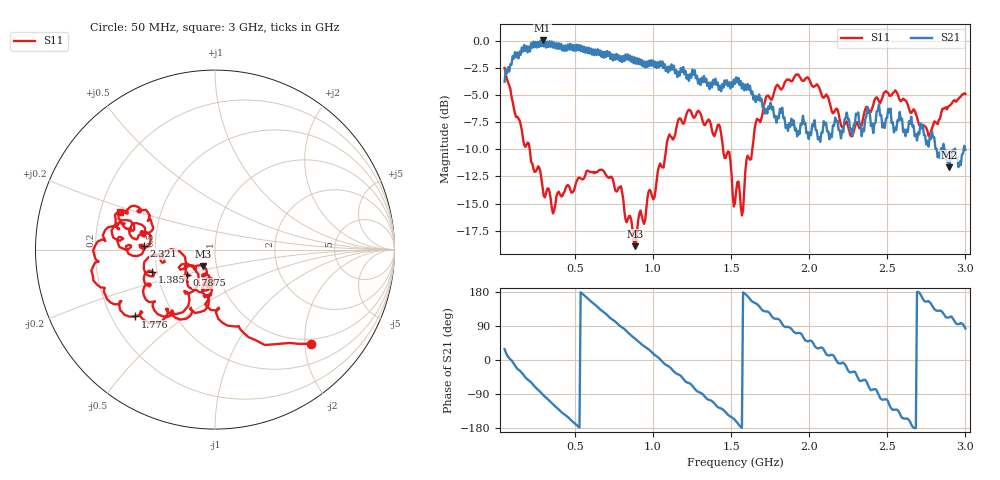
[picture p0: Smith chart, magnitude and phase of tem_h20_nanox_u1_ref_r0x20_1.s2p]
! nanovna_capture.py 2026-10-26T21:09:57+0900
! NanoVNA-F_V2 fw 0.6.0 SN 4A3639384505514B
! cal: load open short thru cal'ed  over 50000000-3000000000 Hz, 201 points
! points 401, avg 4
! TEM h=20, genuine Nano X, flat back down, 0 deg, moved 20 mm across the cell (right seen from PORT 1)
# HZ S RI R 50
! S12 and S22 are not measured (written as 0)
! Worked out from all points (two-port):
!   401 points, 50 MHz to 3 GHz, reference 50 ohm
!   highest |S21| = 0.01 dB at 293.4 MHz (marker M1); lowest = -11.6 dB at 2.897 GHz (marker M2)
!   |S21| within 3 dB of the highest: 65 MHz to 1.141 GHz (1.076 GHz wide, 178 % of centre); 1.174 GHz to 1.199 GHz (25.84 MHz wide, 2.18 % of centre) (the widest 2 of 8)
!   lowest |S11| = -18.9 dB at 883.4 MHz (marker M3), VSWR 1.26, Z = 43.2 - j8.11 ohm
!   |S11| at or under -10 dB: 210.6 MHz to 1.084 GHz (873.3 MHz wide, 135 % of centre); 1.449 GHz to 1.636 GHz (187.2 MHz wide, 12.1 % of centre)
!   S12 and S22 are empty: the file has one direction only
!   S11 on the Smith chart (normalised r, x): 50 MHz: 0.89, -2.13; 787.5 MHz: 0.70, -0.21; 1.385 GHz: 0.47, -0.13; 1.776 GHz: 0.30, -0.33; 2.321 GHz: 0.43, +0.02; 3 GHz: 0.28, +0.17
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5e7  0.5329 -0.5246  0.5686 0.3085  0 0  0 0
1.01625e8  0.1878 -0.4884  0.8459 -0.0837  0 0  0 0
1.60625e8  0.0182 -0.3854  0.7698 -0.5216  0 0  0 0
2.93375e8  -0.0659 -0.1993  -0.0138 -1.002  0 0  0 0
4.11375e8  -0.0253 -0.1905  -0.7018 -0.6648  0 0  0 0
5.44125e8  -0.0641 -0.2218  -0.9434 0.0674  0 0  0 0
6.62125e8  -0.1332 -0.2162  -0.6194 0.6549  0 0  0 0
7.875e8  -0.1569 -0.1411  -0.00311 0.8056  0 0  0 0
8.83375e8  -0.065 -0.0927  0.4578 0.7005  0 0  0 0
1.03825e9  -0.0429 -0.2599  0.7513 0.0657  0 0  0 0
1.207875e9  -0.2454 -0.366  0.403 -0.6048  0 0  0 0
1.384875e9  -0.3492 -0.1229  -0.2385 -0.6151  0 0  0 0
1.525e9  -0.1602 -0.0814  -0.5869 -0.2338  0 0  0 0
1.635625e9  -0.1418 -0.281  -0.5255 0.2561  0 0  0 0
1.77575e9  -0.4453 -0.3727  -0.1488 0.4183  0 0  0 0
2.019125e9  -0.6168 0.0542  0.2725 0.3078  0 0  0 0
2.166625e9  -0.4674 0.1094  0.441 0.0334  0 0  0 0
2.3215e9  -0.3942 0.02  0.2391 -0.3361  0 0  0 0
2.51325e9  -0.5391 0.1406  -0.2244 -0.4102  0 0  0 0
2.653375e9  -0.4153 0.209  -0.4391 -0.0791  0 0  0 0
2.89675e9  -0.487 0.1168  -0.1023 0.2407  0 0  0 0
3e9  -0.5288 0.2079  0.0362 0.3125  0 0  0 0
